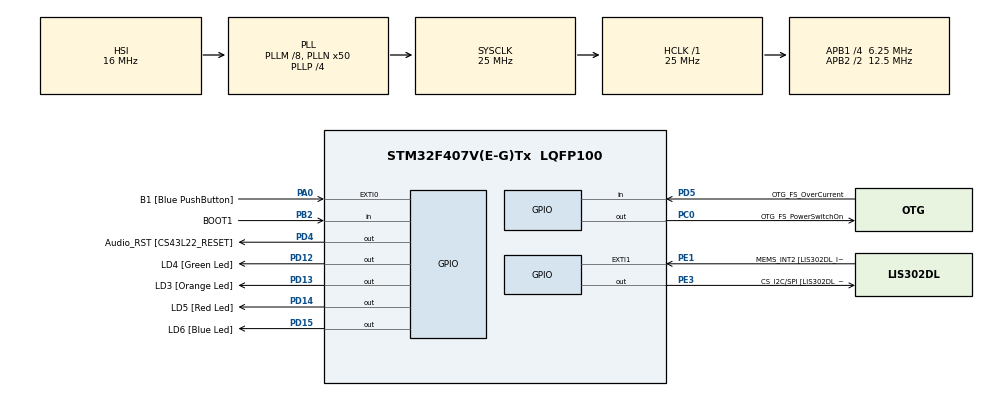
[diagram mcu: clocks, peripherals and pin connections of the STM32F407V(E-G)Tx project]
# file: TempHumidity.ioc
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Mcu.Family=STM32F4
Mcu.Name=STM32F407V(E-G)Tx
Mcu.Package=LQFP100
NVIC.PriorityGroup=NVIC_PRIORITYGROUP_0
PA0-WKUP.GPIO_Label=B1 [Blue PushButton]
PA0-WKUP.Signal=GPXTI0
PA10.GPIO_Label=OTG_FS_ID
PA10.GPIO_Mode=GPIO_MODE_AF_PP
PA10.GPIO_PuPd=GPIO_NOPULL
PA10.GPIO_Speed=GPIO_SPEED_FREQ_LOW
PA10.Signal=USB_OTG_FS_ID
PA11.GPIO_Label=OTG_FS_DM
PA11.GPIO_Mode=GPIO_MODE_AF_PP
PA11.GPIO_PuPd=GPIO_NOPULL
PA11.GPIO_Speed=GPIO_SPEED_FREQ_LOW
PA11.Signal=USB_OTG_FS_DM
PA12.GPIO_Label=OTG_FS_DP
PA12.GPIO_Mode=GPIO_MODE_AF_PP
PA12.GPIO_PuPd=GPIO_NOPULL
PA12.GPIO_Speed=GPIO_SPEED_FREQ_LOW
PA12.Signal=USB_OTG_FS_DP
PA13.GPIO_Label=SWDIO
PA13.Signal=SYS_JTMS-SWDIO
PA14.GPIO_Label=SWCLK
PA14.Signal=SYS_JTCK-SWCLK
PA4.GPIO_Label=I2S3_WS [CS43L22_LRCK]
PA4.GPIO_Mode=GPIO_MODE_AF_PP
PA4.GPIO_PuPd=GPIO_NOPULL
PA4.GPIO_Speed=GPIO_SPEED_FREQ_LOW
PA4.Signal=I2S3_WS
PA5.GPIO_Label=SPI1_SCK [LIS302DL_SCL/SPC]
PA5.GPIO_Mode=GPIO_MODE_AF_PP
PA5.GPIO_PuPd=GPIO_NOPULL
PA5.GPIO_Speed=GPIO_SPEED_FREQ_LOW
PA5.Signal=SPI1_SCK
PA6.GPIO_Label=SPI1_MISO [LIS302DL_SDO]
PA6.GPIO_Mode=GPIO_MODE_AF_PP
PA6.GPIO_PuPd=GPIO_NOPULL
PA6.GPIO_Speed=GPIO_SPEED_FREQ_LOW
PA6.Signal=SPI1_MISO
PA7.GPIO_Label=SPI1_MOSI [LIS302DL_SDA/SDI/SDO]
PA7.GPIO_Mode=GPIO_MODE_AF_PP
PA7.GPIO_PuPd=GPIO_NOPULL
PA7.GPIO_Speed=GPIO_SPEED_FREQ_LOW
PA7.Signal=SPI1_MOSI
PA9.GPIO_Label=VBUS_FS
PA9.GPIO_Mode=GPIO_MODE_INPUT
PA9.GPIO_PuPd=GPIO_NOPULL
PA9.Signal=USB_OTG_FS_VBUS
PB10.GPIO_Label=CLK_IN [MP45DT02_CLK]
PB10.GPIO_Mode=GPIO_MODE_AF_PP
PB10.GPIO_PuPd=GPIO_NOPULL
PB10.GPIO_Speed=GPIO_SPEED_FREQ_LOW
PB10.Signal=I2S2_CK
PB2.GPIO_Label=BOOT1
PB2.GPIO_Mode=GPIO_MODE_INPUT
PB2.GPIO_PuPd=GPIO_NOPULL
PB2.Signal=GPIO_Input
PB3.GPIO_Label=SWO
PB3.Signal=SYS_JTDO-SWO
PB6.GPIO_Label=Audio_SCL [CS43L22_SCL]
PB6.GPIO_Mode=GPIO_MODE_AF_OD
PB6.GPIO_PuPd=GPIO_NOPULL
PB6.GPIO_Speed=GPIO_SPEED_FREQ_LOW
PB6.Signal=I2C1_SCL
PB9.GPIO_Label=Audio_SDA [CS43L22_SDA]
PB9.GPIO_Mode=GPIO_MODE_AF_OD
PB9.GPIO_PuPd=GPIO_NOPULL
PB9.GPIO_Speed=GPIO_SPEED_FREQ_LOW
PB9.Signal=I2C1_SDA
PC0.GPIO_Label=OTG_FS_PowerSwitchOn
PC0.GPIO_PuPd=GPIO_NOPULL
PC0.GPIO_Speed=GPIO_SPEED_FREQ_LOW
PC0.PinState=GPIO_PIN_SET
PC0.Signal=GPIO_Output
PC10.GPIO_Label=I2S3_SCK [CS43L22_SCLK]
PC10.GPIO_Mode=GPIO_MODE_AF_PP
PC10.GPIO_PuPd=GPIO_NOPULL
PC10.GPIO_Speed=GPIO_SPEED_FREQ_LOW
PC10.Signal=I2S3_CK
PC12.GPIO_Label=I2S3_SD [CS43L22_SDIN]
PC12.GPIO_Mode=GPIO_MODE_AF_PP
PC12.GPIO_PuPd=GPIO_NOPULL
PC12.GPIO_Speed=GPIO_SPEED_FREQ_LOW
PC12.Signal=I2S3_SD
PC14-OSC32_IN.GPIO_Label=PC14-OSC32_IN
PC14-OSC32_IN.Signal=RCC_OSC32_IN
PC15-OSC32_OUT.GPIO_Label=PC15-OSC32_OUT
PC15-OSC32_OUT.Signal=RCC_OSC32_OUT
PC3.GPIO_Label=PDM_OUT [MP45DT02_DOUT]
PC3.GPIO_Mode=GPIO_MODE_AF_PP
PC3.GPIO_PuPd=GPIO_NOPULL
PC3.GPIO_Speed=GPIO_SPEED_FREQ_LOW
PC3.Signal=I2S2_SD
PC7.GPIO_Label=I2S3_MCK [CS43L22_MCLK]
PC7.GPIO_Mode=GPIO_MODE_AF_PP
PC7.GPIO_PuPd=GPIO_NOPULL
PC7.GPIO_Speed=GPIO_SPEED_FREQ_LOW
PC7.Signal=I2S3_MCK
PD12.GPIO_Label=LD4 [Green Led]
PD12.GPIO_PuPd=GPIO_NOPULL
PD12.GPIO_Speed=GPIO_SPEED_FREQ_LOW
PD12.Signal=GPIO_Output
PD13.GPIO_Label=LD3 [Orange Led]
PD13.GPIO_PuPd=GPIO_NOPULL
PD13.GPIO_Speed=GPIO_SPEED_FREQ_LOW
PD13.Signal=GPIO_Output
PD14.GPIO_Label=LD5 [Red Led]
PD14.GPIO_PuPd=GPIO_NOPULL
PD14.GPIO_Speed=GPIO_SPEED_FREQ_LOW
PD14.Signal=GPIO_Output
PD15.GPIO_Label=LD6 [Blue Led]
PD15.GPIO_PuPd=GPIO_NOPULL
PD15.GPIO_Speed=GPIO_SPEED_FREQ_LOW
PD15.Signal=GPIO_Output
PD4.GPIO_Label=Audio_RST [CS43L22_RESET]
PD4.GPIO_PuPd=GPIO_NOPULL
PD4.GPIO_Speed=GPIO_SPEED_FREQ_LOW
PD4.Signal=GPIO_Output
PD5.GPIO_Label=OTG_FS_OverCurrent
PD5.GPIO_Mode=GPIO_MODE_INPUT
PD5.GPIO_PuPd=GPIO_NOPULL
PD5.Signal=GPIO_Input
PE1.GPIO_Label=MEMS_INT2 [LIS302DL_INT2]
PE1.GPIO_ModeDefaultEXTI=GPIO_MODE_EVT_RISING
PE1.GPIO_PuPd=GPIO_NOPULL
PE1.Signal=GPXTI1
PE3.GPIO_Label=CS_I2C/SPI [LIS302DL_CS_I2C/SPI]
PE3.GPIO_PuPd=GPIO_NOPULL
PE3.GPIO_Speed=GPIO_SPEED_FREQ_LOW
PE3.Signal=GPIO_Output
PH0-OSC_IN.GPIO_Label=PH0-OSC_IN
PH0-OSC_IN.Signal=RCC_OSC_IN
PH1-OSC_OUT.GPIO_Label=PH1-OSC_OUT
PH1-OSC_OUT.Signal=RCC_OSC_OUT
ProjectManager.HeapSize=0x200
ProjectManager.StackSize=0x400
ProjectManager.TargetToolchain=STM32CubeIDE
RCC.48MHZClocksFreq_Value=14285714.285714285
RCC.AHBFreq_Value=25000000
RCC.APB1CLKDivider=RCC_HCLK_DIV4
RCC.APB1Freq_Value=6250000
RCC.APB1TimFreq_Value=12500000
RCC.APB2CLKDivider=RCC_HCLK_DIV2
RCC.APB2Freq_Value=12500000
RCC.APB2TimFreq_Value=25000000
RCC.CortexFreq_Value=25000000
RCC.HCLKFreq_Value=25000000
RCC.HSE_VALUE=8000000
RCC.HSI_VALUE=16000000
RCC.LSE_VALUE=32768
RCC.PLLM=8
RCC.PLLN=50
RCC.PLLP=RCC_PLLP_DIV4
RCC.PLLQ=7
RCC.SYSCLKFreq_VALUE=25000000
RCC.SYSCLKSource=RCC_SYSCLKSOURCE_PLLCLK
RCC.VCOOutputFreq_Value=100000000
TIM1.Period=65535-1
TIM1.Prescaler=25-1
VP_TIM1_VS_ClockSourceINT.Mode=Internal
board=STM32F407G-DISC1

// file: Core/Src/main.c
#include "sensor.h"
#include "stm32f4xx_hal_i2c.h"
#include <stdio.h>
#include "ssd1306.h"

#define GPIO_AF4_I2C1          ((uint8_t)0x04)

TIM_HandleTypeDef htim1;

void SystemClock_Config(void);
static void MX_TIM1_Init(void);
static void I2C1_Init(void);
static uint32_t ctof(uint32_t cel);

DHT_DataTypedef DHT11_Data;
float temperature, humidity;
uint32_t int_temp, int_hum, int_temp_f;

int main(void)
{
	char temp_str[4];
	char hum_str[3];

	HAL_Init();

	__HAL_RCC_GPIOA_CLK_ENABLE();

	SystemClock_Config();

	MX_TIM1_Init();
	I2C1_Init();

	uint8_t res = SSD1306_Init();
	printf("OLED init: %d\n", res);
	SSD1306_GotoXY(10,27);
	SSD1306_Puts("OLED inited", &Font_7x10, 1);
	SSD1306_GotoXY(10,52);
	SSD1306_Puts("Imtiaz Ahmed", &Font_7x10, 1);
	SSD1306_UpdateScreen();
	HAL_Delay(300);

	while (1) {
		DHT_GetData(&DHT11_Data);
		temperature = DHT11_Data.temperature;
		humidity = DHT11_Data.humidity;

		int_temp = (uint32_t) temperature;
		int_hum = (uint32_t) humidity;
		int_temp_f = ctof(int_temp);

		if (int_temp_f < 100) {
			temp_str[0] = ' ';
			temp_str[1] = (int_temp_f / 10) + '0';
			temp_str[2] = (int_temp_f % 10) + '0';
			temp_str[3] = '\0';
		} else {
			temp_str[0] = (int_temp_f / 100) + '0';
			temp_str[1] = ((int_temp_f / 10) % 10) + '0';
			temp_str[2] = (int_temp_f % 10) + '0';
			temp_str[3] = '\0';
		}

		hum_str[0] = (int_hum / 10) + '0';
		hum_str[1] = (int_hum % 10) + '0';
		hum_str[2] = '\0';

		SSD1306_Fill(0);
		SSD1306_GotoXY(10, 0);
		SSD1306_Puts("Temp & Hum", &Font_7x10, 1);
		SSD1306_GotoXY(10, 20);
		SSD1306_Puts("Temp: ", &Font_7x10, 1);
		SSD1306_GotoXY(50, 20);
		SSD1306_Puts((char *) temp_str, &Font_7x10, 1);
		SSD1306_GotoXY(10, 40);
		SSD1306_Puts("Hum: ", &Font_7x10, 1);
		SSD1306_GotoXY(50, 40);
		SSD1306_Puts((char *) hum_str, &Font_7x10, 1);
		SSD1306_GotoXY(65, 40);
		SSD1306_Puts("%", &Font_7x10, 1);
		SSD1306_UpdateScreen();
		HAL_Delay(300);

		HAL_Delay(3000);
	}

}

void SystemClock_Config(void)
{
  RCC_OscInitTypeDef RCC_OscInitStruct = {0};
  RCC_ClkInitTypeDef RCC_ClkInitStruct = {0};

  /** Configure the main internal regulator output voltage
  */
  __HAL_RCC_PWR_CLK_ENABLE();
  __HAL_PWR_VOLTAGESCALING_CONFIG(PWR_REGULATOR_VOLTAGE_SCALE1);
  /** Initializes the RCC Oscillators according to the specified parameters
  * in the RCC_OscInitTypeDef structure.
  */
  RCC_OscInitStruct.OscillatorType = RCC_OSCILLATORTYPE_HSI;
  RCC_OscInitStruct.HSIState = RCC_HSI_ON;
  RCC_OscInitStruct.HSICalibrationValue = RCC_HSICALIBRATION_DEFAULT;
  RCC_OscInitStruct.PLL.PLLState = RCC_PLL_ON;
  RCC_OscInitStruct.PLL.PLLSource = RCC_PLLSOURCE_HSI;
  RCC_OscInitStruct.PLL.PLLM = 8;
  RCC_OscInitStruct.PLL.PLLN = 50;
  RCC_OscInitStruct.PLL.PLLP = RCC_PLLP_DIV4;
  RCC_OscInitStruct.PLL.PLLQ = 7;
  if (HAL_RCC_OscConfig(&RCC_OscInitStruct) != HAL_OK)
  {
    Error_Handler();
  }
  /** Initializes the CPU, AHB and APB buses clocks
  */
  RCC_ClkInitStruct.ClockType = RCC_CLOCKTYPE_HCLK|RCC_CLOCKTYPE_SYSCLK
                              |RCC_CLOCKTYPE_PCLK1|RCC_CLOCKTYPE_PCLK2;
  RCC_ClkInitStruct.SYSCLKSource = RCC_SYSCLKSOURCE_PLLCLK;
  RCC_ClkInitStruct.AHBCLKDivider = RCC_SYSCLK_DIV1;
  RCC_ClkInitStruct.APB1CLKDivider = RCC_HCLK_DIV4;
  RCC_ClkInitStruct.APB2CLKDivider = RCC_HCLK_DIV2;

  if (HAL_RCC_ClockConfig(&RCC_ClkInitStruct, FLASH_LATENCY_0) != HAL_OK)
  {
    Error_Handler();
  }
}

static void MX_TIM1_Init(void)
{

  TIM_ClockConfigTypeDef sClockSourceConfig = {0};
  TIM_MasterConfigTypeDef sMasterConfig = {0};

  htim1.Instance = TIM1;
  htim1.Init.Prescaler = 25-1;
  htim1.Init.CounterMode = TIM_COUNTERMODE_UP;
  htim1.Init.Period = 65535-1;
  htim1.Init.ClockDivision = TIM_CLOCKDIVISION_DIV1;
  htim1.Init.RepetitionCounter = 0;
  htim1.Init.AutoReloadPreload = TIM_AUTORELOAD_PRELOAD_DISABLE;
  if (HAL_TIM_Base_Init(&htim1) != HAL_OK)
  {
    Error_Handler();
  }
  sClockSourceConfig.ClockSource = TIM_CLOCKSOURCE_INTERNAL;
  if (HAL_TIM_ConfigClockSource(&htim1, &sClockSourceConfig) != HAL_OK)
  {
    Error_Handler();
  }
  sMasterConfig.MasterOutputTrigger = TIM_TRGO_RESET;
  sMasterConfig.MasterSlaveMode = TIM_MASTERSLAVEMODE_DISABLE;
  if (HAL_TIMEx_MasterConfigSynchronization(&htim1, &sMasterConfig) != HAL_OK)
  {
    Error_Handler();
  }

}

/* USER CODE BEGIN 4 */
static void I2C1_Init(void)
{
	__HAL_RCC_GPIOB_CLK_ENABLE();

	GPIO_InitTypeDef GPIO_B;

	GPIO_B.Pin = GPIO_PIN_6 | GPIO_PIN_9;
	GPIO_B.Mode = GPIO_MODE_AF_OD;
	GPIO_B.Pull = GPIO_PULLUP;
	GPIO_B.Speed = GPIO_SPEED_FREQ_VERY_HIGH;
	GPIO_B.Alternate = GPIO_AF4_I2C1;

	HAL_GPIO_Init(GPIOB, &GPIO_B);

	__HAL_RCC_I2C1_CLK_ENABLE();

	I2C_HandleTypeDef hi2c1;

	hi2c1.Instance = I2C1;
	hi2c1.Init.ClockSpeed = 400000;
	hi2c1.Init.DutyCycle = I2C_DUTYCYCLE_16_9;
	hi2c1.Init.OwnAddress1 = 0x15;
	hi2c1.Init.NoStretchMode = I2C_NOSTRETCH_DISABLE;
	hi2c1.Init.GeneralCallMode = I2C_GENERALCALL_DISABLE;

	HAL_I2C_Init(&hi2c1);
}

static uint32_t ctof(uint32_t cel)
{
	return ((cel * 1.80) + 32);
}

/* USER CODE END 4 */

void Error_Handler(void)
{
}

/************************ (C) COPYRIGHT STMicroelectronics *****END OF FILE****/
